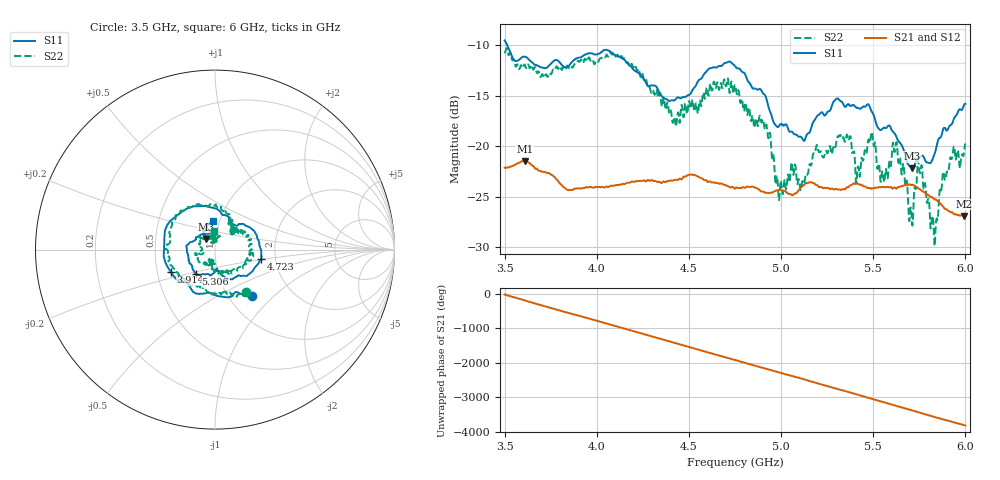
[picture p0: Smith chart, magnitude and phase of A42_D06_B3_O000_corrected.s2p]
! Created with skrf 1.9.0 (http://scikit-rf.org).
# Hz S RI R 50.0
!freq ReS11 ImS11 ReS21 ImS21 ReS12 ImS12 ReS22 ImS22
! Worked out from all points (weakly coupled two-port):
!   1601 points, 3.5 GHz to 6 GHz, reference 50 ohm
!   highest |S21| = -21.45 dB at 3.609 GHz (marker M1); lowest = -26.9 dB at 5.994 GHz (marker M2)
!   lowest |S11| = -22.2 dB at 5.713 GHz (marker M3), VSWR 1.17, Z = 44.9 + j5.37 ohm
!   |S11| at or under -10 dB: 3.514 GHz to end of sweep
!   |S22| runs from -29.9 to -10.3 dB; largest |S21 - S12| = 0.00095
!   S11 on the Smith chart (normalised r, x): 3.5 GHz: 1.28, -0.75; 3.914 GHz: 0.59, -0.16; 4.723 GHz: 1.68, -0.18; 5.306 GHz: 0.78, -0.22; 6 GHz: 0.93, +0.31
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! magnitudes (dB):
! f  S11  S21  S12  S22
! 3.5 GHz  -9.6  -22.1  -22.1  -10.7
! 3.609 GHz  -11.2  -21.4  -21.4  -11.9
! 3.914 GHz  -11.2  -24.2  -24.1  -11.5
! 3.917 GHz  -11.2  -24.2  -24.1  -11.5
! 4.334 GHz  -14.5  -23.5  -23.5  -15.2
! 4.422 GHz  -15.5  -23.3  -23.3  -17.2
! 4.723 GHz  -11.6  -24.1  -24.0  -14.6
! 4.75 GHz  -12.1  -24.2  -24.1  -14.0
! 4.912 GHz  -14.9  -24.6  -24.5  -18.3
! 4.997 GHz  -17.8  -24.3  -24.3  -23.5
! 5.167 GHz  -17.9  -23.6  -23.5  -21.5
! 5.306 GHz  -15.3  -24.3  -24.2  -19.1
! 5.416 GHz  -16.2  -23.7  -23.7  -22.1
! 5.484 GHz  -16.3  -24.2  -24.1  -19.3
! 5.584 GHz  -18.0  -24.1  -24.0  -22.0
! 5.619 GHz  -18.8  -24.1  -24.1  -20.4
! 5.713 GHz  -22.2  -23.8  -23.7  -27.8
! 5.753 GHz  -21.1  -24.2  -24.2  -22.7
! 5.839 GHz  -20.4  -25.3  -25.2  -28.0
! 5.873 GHz  -18.7  -25.9  -25.8  -23.6
! 5.994 GHz  -15.9  -26.9  -26.8  -20.4
! 6 GHz  -15.8  -26.9  -26.8  -19.7
